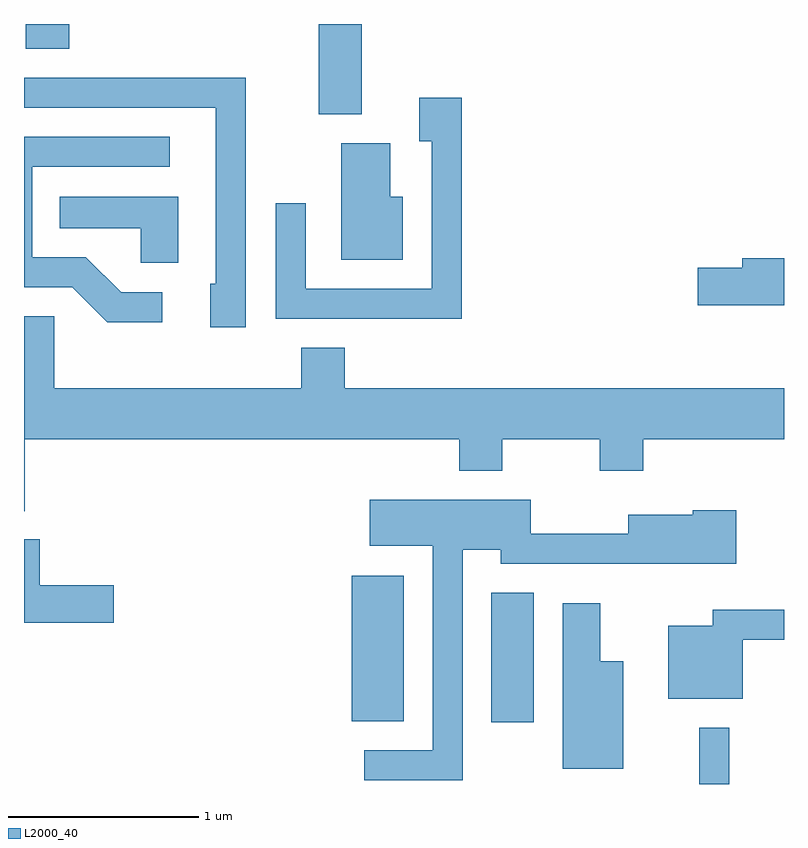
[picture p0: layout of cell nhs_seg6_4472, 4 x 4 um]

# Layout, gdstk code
import gdstk
lib = gdstk.Library(unit=1e-6, precision=1e-09)
def R(c, l, rs):  # rectangles x0, y0, x1, y1
    for r in rs: c.add(gdstk.rectangle(r[:2], r[2:], *l))
def P(c, l, *ps):  # polygons
    for p in ps: c.add(gdstk.Polygon(p, *l))
L2000_40 = (2000, 40)

nhs_seg6_4472 = lib.new_cell('nhs_seg6_4472')
R(nhs_seg6_4472, L2000_40, [(325.166,1608.162,325.324,1608.458), (324.071,1608.486,324.294,1609.169), (323.336,1608.491,323.609,1609.259), (323.161,1611.686,323.389,1612.162), (321.621,1612.031,321.849,1612.162)])
P(nhs_seg6_4472, L2000_40, [(322.779,1611.879),(321.611,1611.879),(321.611,1611.721),(322.621,1611.721),(322.621,1610.794),(322.591,1610.794),(322.591,1610.566),(322.779,1610.566)],
  [(323.914,1611.774),(323.691,1611.774),(323.691,1611.546),(323.756,1611.546),(323.756,1610.769),(323.094,1610.769),(323.094,1611.218),(322.936,1611.218),(322.936,1610.611),(323.914,1610.611)],
  [(322.338,1610.749),(322.122,1610.749),(321.937,1610.934),(321.654,1610.934),(321.654,1611.411),(322.378,1611.411),(322.378,1611.569),(321.611,1611.569),(321.611,1610.776),(321.864,1610.776),(322.049,1610.591),(322.338,1610.591)],
  [(323.604,1611.254),(323.539,1611.254),(323.539,1611.534),(323.281,1611.534),(323.281,1610.921),(323.604,1610.921)],
  [(322.424,1611.254),(321.798,1611.254),(321.798,1611.086),(322.226,1611.086),(322.226,1610.906),(322.424,1610.906)],
  [(325.611,1610.929),(325.391,1610.929),(325.391,1610.879),(325.156,1610.879),(325.156,1610.681),(325.611,1610.681)],
  [(321.614,1609.976),(323.901,1609.976),(323.901,1609.811),(324.129,1609.811),(324.129,1609.976),(324.641,1609.976),(324.641,1609.811),(324.869,1609.811),(324.869,1609.976),(325.611,1609.976),(325.611,1610.244),(323.299,1610.244),(323.299,1610.459),(323.071,1610.459),(323.071,1610.244),(321.769,1610.244),(321.769,1610.624),(321.611,1610.624),(321.611,1609.598),(321.614,1609.598)],
  [(323.919,1609.396),(324.121,1609.396),(324.121,1609.321),(325.359,1609.321),(325.359,1609.604),(325.131,1609.604),(325.131,1609.579),(324.791,1609.579),(324.791,1609.479),(324.279,1609.479),(324.279,1609.659),(323.431,1609.659),(323.431,1609.416),(323.761,1609.416),(323.761,1608.339),(323.403,1608.339),(323.403,1608.181),(323.919,1608.181)],
  [(322.084,1609.209),(321.694,1609.209),(321.694,1609.449),(321.611,1609.449),(321.611,1609.011),(322.084,1609.011)],
  [(324.764,1608.809),(324.644,1608.809),(324.644,1609.114),(324.446,1609.114),(324.446,1608.241),(324.764,1608.241)],
  [(325.394,1608.921),(325.611,1608.921),(325.611,1609.079),(325.236,1609.079),(325.236,1608.994),(325.001,1608.994),(325.001,1608.611),(325.394,1608.611)])

lib.write_gds('nhs_seg6_4472.gds')
